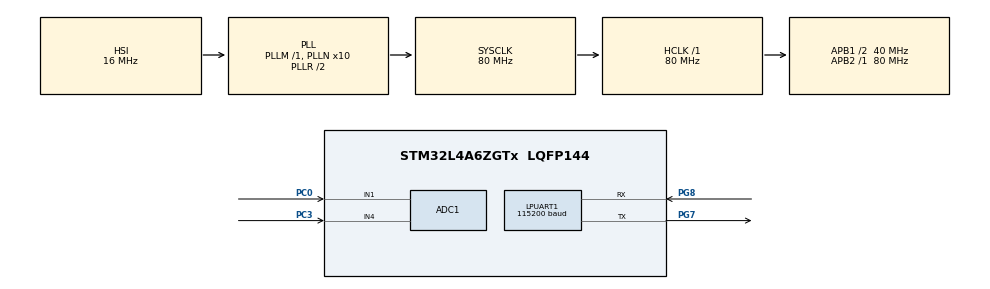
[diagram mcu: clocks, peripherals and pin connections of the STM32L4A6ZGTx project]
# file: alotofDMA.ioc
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ADC1.Channel-0\#ChannelRegularConversion=ADC_CHANNEL_1
ADC1.Channel-1\#ChannelRegularConversion=ADC_CHANNEL_1
ADC1.ContinuousConvMode=ENABLE
ADC1.NbrOfConversion=2
ADC1.NbrOfConversionFlag=1
ADC1.OffsetNumber-0\#ChannelRegularConversion=ADC_OFFSET_NONE
ADC1.OffsetNumber-1\#ChannelRegularConversion=ADC_OFFSET_NONE
ADC1.Rank-0\#ChannelRegularConversion=1
ADC1.Rank-1\#ChannelRegularConversion=2
ADC1.SamplingTime-0\#ChannelRegularConversion=ADC_SAMPLETIME_2CYCLES_5
ADC1.SamplingTime-1\#ChannelRegularConversion=ADC_SAMPLETIME_2CYCLES_5
ADC1.master=1
Dma.ADC1.0.Direction=DMA_PERIPH_TO_MEMORY
Dma.ADC1.0.Instance=DMA1_Channel1
Dma.ADC1.0.MemDataAlignment=DMA_MDATAALIGN_HALFWORD
Dma.ADC1.0.MemInc=DMA_MINC_ENABLE
Dma.ADC1.0.Mode=DMA_NORMAL
Dma.ADC1.0.PeriphDataAlignment=DMA_PDATAALIGN_HALFWORD
Dma.ADC1.0.PeriphInc=DMA_PINC_DISABLE
Dma.ADC1.0.Priority=DMA_PRIORITY_LOW
Dma.Request0=ADC1
LPUART1.BaudRate=115200
LPUART1.WordLength=UART_WORDLENGTH_8B
Mcu.Family=STM32L4
Mcu.Name=STM32L4A6ZGTx
Mcu.Package=LQFP144
NVIC.ADC1_2_IRQn=true\:0\:0\:false\:false\:true\:true\:true\:true
NVIC.DMA1_Channel1_IRQn=true\:0\:0\:false\:false\:true\:false\:true\:true
NVIC.PriorityGroup=NVIC_PRIORITYGROUP_4
PC0.Signal=ADCx_IN1
PC3.Signal=ADCx_IN4
PG7.Mode=Asynchronous
PG7.Signal=LPUART1_TX
PG8.Mode=Asynchronous
PG8.Signal=LPUART1_RX
ProjectManager.HeapSize=0x200
ProjectManager.StackSize=0x400
ProjectManager.TargetToolchain=STM32CubeIDE
RCC.ADCFreq_Value=64000000
RCC.AHBFreq_Value=80000000
RCC.APB1CLKDivider=RCC_HCLK_DIV2
RCC.APB1Freq_Value=40000000
RCC.APB1TimFreq_Value=80000000
RCC.APB2Freq_Value=80000000
RCC.APB2TimFreq_Value=80000000
RCC.CortexFreq_Value=80000000
RCC.FLatency=FLASH_LATENCY_4
RCC.HCLKFreq_Value=80000000
RCC.HSE_VALUE=8000000
RCC.HSI48_VALUE=48000000
RCC.HSI_VALUE=16000000
RCC.LSE_VALUE=32768
RCC.MSI_VALUE=4000000
RCC.PLLN=10
RCC.PLLSourceVirtual=RCC_PLLSOURCE_HSI
RCC.SYSCLKFreq_VALUE=80000000
RCC.SYSCLKSource=RCC_SYSCLKSOURCE_PLLCLK
RCC.USBFreq_Value=64000000
RCC.VCOOutputFreq_Value=160000000
SH.ADCx_IN1.0=ADC1_IN1,IN1-Single-Ended
SH.ADCx_IN4.0=ADC1_IN4,IN4-Single-Ended
board=NUCLEO-L4A6ZG

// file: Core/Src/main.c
/* USER CODE BEGIN Header */
/**
  ******************************************************************************
  * @file           : main.c
  * @brief          : Main program body
  ******************************************************************************
  * @attention
  *
  * Copyright (c) 2024 STMicroelectronics.
  * All rights reserved.
  *
  * This software is licensed under terms that can be found in the LICENSE file
  * in the root directory of this software component.
  * If no LICENSE file comes with this software, it is provided AS-IS.
  *
  ******************************************************************************
  */
/* USER CODE END Header */
#include "main.h"

/* USER CODE BEGIN Includes */
#include <stdio.h>
#include <string.h>
/* USER CODE END Includes */

/* USER CODE BEGIN PD */
#define NUM_SAMPLES 3000
/* USER CODE END PD */

ADC_HandleTypeDef hadc1;
DMA_HandleTypeDef hdma_adc1;

UART_HandleTypeDef hlpuart1;

/* USER CODE BEGIN PV */
uint16_t resistor = 0;
uint16_t pot = 0;
uint32_t resistorSum = 0;
uint32_t potSum = 0;
uint16_t raw[NUM_SAMPLES];
char msg[50];
uint8_t convCompleted = 0;

uint16_t sampleCount = 0;
/* USER CODE END PV */

void SystemClock_Config(void);
static void MX_GPIO_Init(void);
static void MX_DMA_Init(void);
static void MX_ADC1_Init(void);
static void MX_LPUART1_UART_Init(void);
/* USER CODE BEGIN PFP */
void calculate_and_print_average(void);
/* USER CODE END PFP */

/* USER CODE BEGIN 0 */
void HAL_ADC_ConvCpltCallback(ADC_HandleTypeDef *hadc)
{
    convCompleted = 1;
}

void calculate_and_print_average(void)
{
    resistor = resistorSum /NUM_SAMPLES;
    pot = potSum /NUM_SAMPLES;

    sprintf(msg, "Average Resistor: %hu\r\n", resistor);
    HAL_UART_Transmit(&hlpuart1, (uint8_t *)msg, strlen(msg), HAL_MAX_DELAY);

    sprintf(msg, "Average POT: %hu\r\n", pot);
    HAL_UART_Transmit(&hlpuart1, (uint8_t *)msg, strlen(msg), HAL_MAX_DELAY);

    resistorSum = 0;
    potSum = 0;
    sampleCount = 0;
}
/* USER CODE END 0 */

int main(void)
{

  /* MCU Configuration--------------------------------------------------------*/

  /* Reset of all peripherals, Initializes the Flash interface and the Systick. */
  HAL_Init();

  /* Configure the system clock */
  SystemClock_Config();

  /* Initialize all configured peripherals */
  MX_GPIO_Init();
  MX_DMA_Init();
  MX_ADC1_Init();
  MX_LPUART1_UART_Init();
  /* USER CODE BEGIN 2 */
  HAL_ADC_Start_DMA(&hadc1, (uint32_t *)raw, NUM_SAMPLES);
  /* USER CODE END 2 */

  /* Infinite loop */
  while (1)
  {

    /* USER CODE BEGIN 3 */
        if (convCompleted)
        {
            resistorSum = 0;
            potSum = 0;

            for (uint16_t i = 0; i < NUM_SAMPLES; i += 2)
            {
                resistorSum += raw[i];
                potSum += raw[i + 1];
            }

            calculate_and_print_average();

            convCompleted = 0;

            HAL_ADC_Start_DMA(&hadc1, (uint32_t *)raw, NUM_SAMPLES);
        }

        HAL_Delay(1);
    }
}

/*/*
/*
  /* USER CODE END 3 */

void SystemClock_Config(void)
{
  RCC_OscInitTypeDef RCC_OscInitStruct = {0};
  RCC_ClkInitTypeDef RCC_ClkInitStruct = {0};

  /** Configure the main internal regulator output voltage
  */
  if (HAL_PWREx_ControlVoltageScaling(PWR_REGULATOR_VOLTAGE_SCALE1) != HAL_OK)
  {
    Error_Handler();
  }

  /** Initializes the RCC Oscillators according to the specified parameters
  * in the RCC_OscInitTypeDef structure.
  */
  RCC_OscInitStruct.OscillatorType = RCC_OSCILLATORTYPE_HSI;
  RCC_OscInitStruct.HSIState = RCC_HSI_ON;
  RCC_OscInitStruct.HSICalibrationValue = RCC_HSICALIBRATION_DEFAULT;
  RCC_OscInitStruct.PLL.PLLState = RCC_PLL_ON;
  RCC_OscInitStruct.PLL.PLLSource = RCC_PLLSOURCE_HSI;
  RCC_OscInitStruct.PLL.PLLM = 1;
  RCC_OscInitStruct.PLL.PLLN = 10;
  RCC_OscInitStruct.PLL.PLLP = RCC_PLLP_DIV2;
  RCC_OscInitStruct.PLL.PLLQ = RCC_PLLQ_DIV2;
  RCC_OscInitStruct.PLL.PLLR = RCC_PLLR_DIV2;
  if (HAL_RCC_OscConfig(&RCC_OscInitStruct) != HAL_OK)
  {
    Error_Handler();
  }

  /** Initializes the CPU, AHB and APB buses clocks
  */
  RCC_ClkInitStruct.ClockType = RCC_CLOCKTYPE_HCLK|RCC_CLOCKTYPE_SYSCLK
                              |RCC_CLOCKTYPE_PCLK1|RCC_CLOCKTYPE_PCLK2;
  RCC_ClkInitStruct.SYSCLKSource = RCC_SYSCLKSOURCE_PLLCLK;
  RCC_ClkInitStruct.AHBCLKDivider = RCC_SYSCLK_DIV1;
  RCC_ClkInitStruct.APB1CLKDivider = RCC_HCLK_DIV2;
  RCC_ClkInitStruct.APB2CLKDivider = RCC_HCLK_DIV1;

  if (HAL_RCC_ClockConfig(&RCC_ClkInitStruct, FLASH_LATENCY_4) != HAL_OK)
  {
    Error_Handler();
  }
}

static void MX_ADC1_Init(void)
{

  ADC_MultiModeTypeDef multimode = {0};
  ADC_ChannelConfTypeDef sConfig = {0};

  /** Common config
  */
  hadc1.Instance = ADC1;
  hadc1.Init.ClockPrescaler = ADC_CLOCK_ASYNC_DIV1;
  hadc1.Init.Resolution = ADC_RESOLUTION_12B;
  hadc1.Init.DataAlign = ADC_DATAALIGN_RIGHT;
  hadc1.Init.ScanConvMode = ADC_SCAN_ENABLE;
  hadc1.Init.EOCSelection = ADC_EOC_SINGLE_CONV;
  hadc1.Init.LowPowerAutoWait = DISABLE;
  hadc1.Init.ContinuousConvMode = ENABLE;
  hadc1.Init.NbrOfConversion = 2;
  hadc1.Init.DiscontinuousConvMode = DISABLE;
  hadc1.Init.ExternalTrigConv = ADC_SOFTWARE_START;
  hadc1.Init.ExternalTrigConvEdge = ADC_EXTERNALTRIGCONVEDGE_NONE;
  hadc1.Init.DMAContinuousRequests = DISABLE;
  hadc1.Init.Overrun = ADC_OVR_DATA_PRESERVED;
  hadc1.Init.OversamplingMode = DISABLE;
  if (HAL_ADC_Init(&hadc1) != HAL_OK)
  {
    Error_Handler();
  }

  /** Configure the ADC multi-mode
  */
  multimode.Mode = ADC_MODE_INDEPENDENT;
  if (HAL_ADCEx_MultiModeConfigChannel(&hadc1, &multimode) != HAL_OK)
  {
    Error_Handler();
  }

  /** Configure Regular Channel
  */
  sConfig.Channel = ADC_CHANNEL_1;
  sConfig.Rank = ADC_REGULAR_RANK_1;
  sConfig.SamplingTime = ADC_SAMPLETIME_2CYCLES_5;
  sConfig.SingleDiff = ADC_SINGLE_ENDED;
  sConfig.OffsetNumber = ADC_OFFSET_NONE;
  sConfig.Offset = 0;
  if (HAL_ADC_ConfigChannel(&hadc1, &sConfig) != HAL_OK)
  {
    Error_Handler();
  }

  /** Configure Regular Channel
  */
  sConfig.Channel = ADC_CHANNEL_4;
       sConfig.Rank = ADC_REGULAR_RANK_2;
       sConfig.SamplingTime = ADC_SAMPLETIME_247CYCLES_5;
       sConfig.SingleDiff = ADC_SINGLE_ENDED;
       sConfig.OffsetNumber = ADC_OFFSET_NONE;
       sConfig.Offset = 0;
       if (HAL_ADC_ConfigChannel(&hadc1, &sConfig) != HAL_OK)
       {
         Error_Handler();
       }

}

static void MX_LPUART1_UART_Init(void)
{

  hlpuart1.Instance = LPUART1;
  hlpuart1.Init.BaudRate = 115200;
  hlpuart1.Init.WordLength = UART_WORDLENGTH_8B;
  hlpuart1.Init.StopBits = UART_STOPBITS_1;
  hlpuart1.Init.Parity = UART_PARITY_NONE;
  hlpuart1.Init.Mode = UART_MODE_TX_RX;
  hlpuart1.Init.HwFlowCtl = UART_HWCONTROL_NONE;
  hlpuart1.Init.OneBitSampling = UART_ONE_BIT_SAMPLE_DISABLE;
  hlpuart1.AdvancedInit.AdvFeatureInit = UART_ADVFEATURE_NO_INIT;
  if (HAL_UART_Init(&hlpuart1) != HAL_OK)
  {
    Error_Handler();
  }

}

static void MX_DMA_Init(void)
{

  /* DMA controller clock enable */
  __HAL_RCC_DMA1_CLK_ENABLE();

  /* DMA interrupt init */
  /* DMA1_Channel1_IRQn interrupt configuration */
  HAL_NVIC_SetPriority(DMA1_Channel1_IRQn, 0, 0);
  HAL_NVIC_EnableIRQ(DMA1_Channel1_IRQn);

}

static void MX_GPIO_Init(void)
{

  /* GPIO Ports Clock Enable */
  __HAL_RCC_GPIOC_CLK_ENABLE();
  __HAL_RCC_GPIOG_CLK_ENABLE();
  HAL_PWREx_EnableVddIO2();

}

void Error_Handler(void)
{
  __disable_irq();
  while (1)
  {
  }
}
